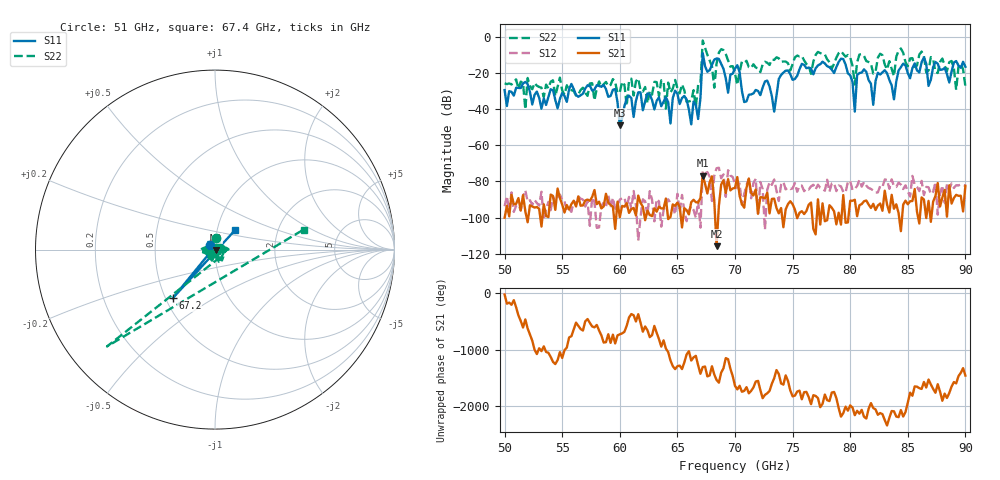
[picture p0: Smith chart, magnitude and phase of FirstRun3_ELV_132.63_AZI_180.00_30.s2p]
! 11/24/2026 3:40:16 PM
! C:\ANRITSUVNA\TEMP\TEMP.S2P
! CHANNEL.1
! TR.MEASUREMENT
! RAW.DATA
# HZ S RI R 50.0
! FREQ.HZ  S11RE  S11IM  S21RE  S21IM  S12RE  S12IM  S22RE  S22IM
!; PortSelection: Port_12
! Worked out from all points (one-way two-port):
!   201 points, 50 GHz to 90 GHz, reference 50 ohm
!   highest |S21| = -76.70 dB at 67.2 GHz (marker M1); lowest = -115.9 dB at 68.4 GHz (marker M2)
!   lowest |S11| = -49.0 dB at 60 GHz (marker M3), VSWR 1.01, Z = 50.3 - j0.157 ohm
!   |S11| at or under -10 dB: start of sweep to 67.19 GHz; 67.23 GHz to end of sweep
!   |S22| runs from -40.0 to -1.9 dB; largest |S21 - S12| = 0.0003
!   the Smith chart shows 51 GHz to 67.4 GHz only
!   S11 on the Smith chart (normalised r, x): 51 GHz: 0.94, +0.05; 67.2 GHz: 0.54, -0.34; 67.4 GHz: 1.22, +0.27
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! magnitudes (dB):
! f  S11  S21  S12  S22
! 50 GHz  -29.3  -100.1  -93.7  -25.6
! 51 GHz  -28.1  -92.4  -93.5  -23.4
! 51.8 GHz  -24.8  -96.6  -84.9  -40.0
! 52 GHz  -26.0  -102.6  -91.1  -22.6
! 56.8 GHz  -31.4  -93.2  -90.0  -28.1
! 59.6 GHz  -28.8  -106.3  -95.1  -25.0
! 60 GHz  -49.0  -99.8  -90.0  -30.5
! 63.4 GHz  -33.4  -93.9  -91.0  -32.6
! 66.8 GHz  -45.4  -91.7  -90.9  -26.5
! 67.2 GHz  -8.9  -76.7  -74.3  -1.9
! 67.4 GHz  -16.1  -81.3  -75.6  -5.9
! 68.4 GHz  -11.8  -115.9  -72.7  -14.7
! 69.4 GHz  -30.8  -78.7  -73.8  -12.9
! 70 GHz  -17.4  -83.6  -81.5  -19.9
! 73.4 GHz  -41.3  -89.5  -78.9  -12.6
! 74.2 GHz  -19.7  -105.4  -80.2  -13.5
! 76.8 GHz  -20.6  -106.3  -81.8  -13.6
! 79.4 GHz  -12.2  -87.5  -85.9  -9.4
! 80.4 GHz  -41.3  -90.1  -84.2  -26.2
! 80.6 GHz  -21.0  -99.2  -82.5  -14.0
! 83.4 GHz  -23.7  -97.2  -84.0  -13.3
! 90 GHz  -16.4  -82.4  -82.4  -27.3
